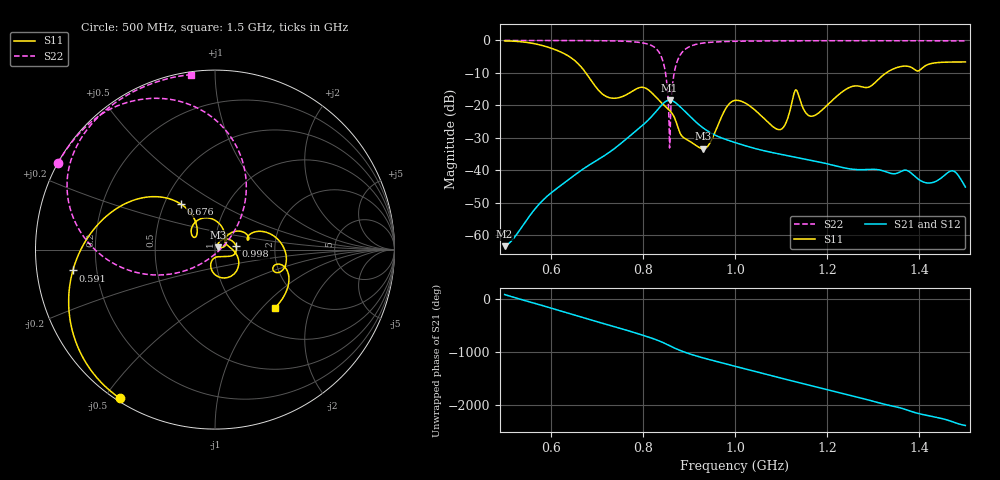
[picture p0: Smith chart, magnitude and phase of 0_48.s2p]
! TOUCHSTONE file generated by CST MICROWAVE STUDIO
! Date and time: Mon Sep 28 15:36:08 2020
! Project name: Scenario_1_Free_SPace.cst
! Parameters = {dx1=987.3; L_HA=400; MT=2.54; Rad_Dielectric=30; Rad_Lower=7.3; Rad_Upper=30; a_HA=580; a_WG=246; b_HA=500; b_WG=121; c_HA=0; c_WG=187; d_feed=85; h_feed=15; h_lower=18; h_upper=40}
! Header version: 2018
! Port assignment regex: !\s*Touchstone port\s*([0-9]+)\s*=\s*(CST MWS port|CST DS port)\s*([0-9]+|Zmin|Zmax)\s*\(\"(.*)\"\)(\s*mode\s*([0-9]+))?.*
! Touchstone port assignment:
! Touchstone port 1 = CST MWS port 1 ("")
! Touchstone port 2 = CST MWS port 2 ("")
# GHz S DB R 50
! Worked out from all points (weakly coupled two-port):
!   1003 points, 500 MHz to 1.5 GHz, reference 50 ohm
!   highest |S21| = -18.40 dB at 858 MHz (marker M1); lowest = -63.4 dB at 500 MHz (marker M2)
!   lowest |S11| = -33.4 dB at 931 MHz (marker M3), VSWR 1.04, Z = 51.7 + j1.4 ohm
!   |S11| at or under -10 dB: 676.3 MHz to 1.328 GHz (651.9 MHz wide, 65 % of centre)
!   |S22| runs from -33.1 to 0.0 dB; largest |S21 - S12| = 1.6e-05
!   S11 on the Smith chart (normalised r, x): 500 MHz: 0.01, -0.55; 591 MHz: 0.11, -0.07; 676 MHz: 0.61, +0.34; 998 MHz: 1.26, +0.05; 1.5 GHz: 1.43, -1.18
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0.5  -0.15 -122.6  -63.38 75.8  -63.38 75.8  -0.01 151.1
0.591  -1.93 -171.7  -48.17 -154.6  -48.17 -154.6  -0.02 144.8
0.667  -8.31 132.3  -39.94 10.1  -39.94 10.1  -0.04 138.3
0.676  -9.94 126.9  -39.08 -13.0  -39.08 -13.0  -0.05 137.4
0.725  -17.53 139.2  -34.69 -135.0  -34.69 -135.0  -0.11 131.5
0.781  -15.30 140.5  -28.36 82.2  -28.36 82.2  -0.44 120.0
0.834  -18.27 68.1  -21.00 -70.5  -21.00 -70.5  -3.39 85.7
0.847  -20.10 54.5  -19.07 -119.2  -19.07 -119.2  -8.32 62.9
0.858  -21.56 41.2  -18.40 -165.6  -18.40 -165.6  -33.12 -17.4
0.862  -22.20 35.1  -18.49 177.4  -18.49 177.4  -17.78 -137.1
0.868  -23.59 24.7  -18.89 152.8  -18.89 152.8  -10.05 -153.5
0.879  -27.97 17.2  -20.16 111.5  -20.16 111.5  -4.99 -171.7
0.931  -33.37 39.1  -26.97 -35.7  -26.97 -35.7  -0.79 154.4
0.998  -18.55 10.2  -31.37 172.3  -31.37 172.3  -0.27 140.5
1  -18.48 7.2  -31.46 167.8  -31.46 167.8  -0.26 140.2
1.097  -27.48 -78.1  -35.01 -48.4  -35.01 -48.4  -0.12 130.0
1.133  -15.26 -51.7  -36.04 -127.9  -36.04 -127.9  -0.11 126.9
1.167  -23.35 32.2  -36.98 158.8  -36.98 158.8  -0.10 124.2
1.334  -9.47 13.1  -40.79 153.5  -40.79 153.5  -0.09 111.5
1.421  -7.30 -18.5  -43.93 -44.1  -43.94 -44.1  -0.10 104.6
1.473  -6.65 -37.6  -40.20 -159.3  -40.20 -159.2  -0.13 100.3
1.5  -6.63 -43.9  -45.16 134.9  -45.16 134.8  -0.14 97.9
